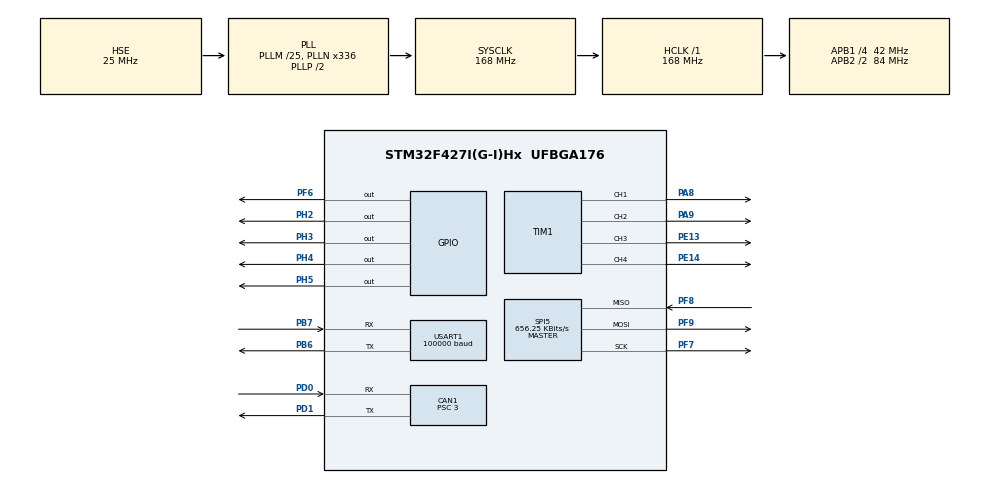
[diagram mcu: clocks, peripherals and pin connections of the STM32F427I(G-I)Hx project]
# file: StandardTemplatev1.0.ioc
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CAN1.BS1=CAN_BS1_12TQ
CAN1.CalculateTimeQuantum=71.42857142857143
CAN1.Prescaler=3
FREERTOS.Tasks01=defaultTask,0,128,StartDefaultTask,Default,NULL,Dynamic,NULL,NULL;remoteControlle,0,256,remoteControllerFunc,Default,NULL,Dynamic,NULL,NULL;chassisTask,0,256,chassisFunc,Default,NULL,Dynamic,NULL,NULL;shooterTask,0,256,shooterFunc,Default,NULL,Dynamic,NULL,NULL;gestureControlT,0,256,gestureControlFunc,Default,NULL,Dynamic,NULL,NULL
Mcu.Family=STM32F4
Mcu.Name=STM32F427I(G-I)Hx
Mcu.Package=UFBGA176
NVIC.PriorityGroup=NVIC_PRIORITYGROUP_4
PA13.Mode=Serial_Wire
PA13.Signal=SYS_JTMS-SWDIO
PA14.Mode=Serial_Wire
PA14.Signal=SYS_JTCK-SWCLK
PA8.Signal=S_TIM1_CH1
PA9.Signal=S_TIM1_CH2
PB6.Mode=Asynchronous
PB6.Signal=USART1_TX
PB7.Mode=Asynchronous
PB7.Signal=USART1_RX
PD0.Mode=Master
PD0.Signal=CAN1_RX
PD1.Mode=Master
PD1.Signal=CAN1_TX
PE13.Signal=S_TIM1_CH3
PE14.Signal=S_TIM1_CH4
PF6.Signal=GPIO_Output
PF7.Mode=Full_Duplex_Master
PF7.Signal=SPI5_SCK
PF8.Mode=Full_Duplex_Master
PF8.Signal=SPI5_MISO
PF9.Mode=Full_Duplex_Master
PF9.Signal=SPI5_MOSI
PH0/OSC_IN.Mode=HSE-External-Oscillator
PH0/OSC_IN.Signal=RCC_OSC_IN
PH1/OSC_OUT.Mode=HSE-External-Oscillator
PH1/OSC_OUT.Signal=RCC_OSC_OUT
PH2.Signal=GPIO_Output
PH3.Signal=GPIO_Output
PH4.Signal=GPIO_Output
PH5.Signal=GPIO_Output
ProjectManager.HeapSize=0x200
ProjectManager.StackSize=0x400
ProjectManager.TargetToolchain=MDK-ARM V5
RCC.48MHZClocksFreq_Value=84000000
RCC.AHBFreq_Value=168000000
RCC.APB1CLKDivider=RCC_HCLK_DIV4
RCC.APB1Freq_Value=42000000
RCC.APB1TimFreq_Value=84000000
RCC.APB2CLKDivider=RCC_HCLK_DIV2
RCC.APB2Freq_Value=84000000
RCC.APB2TimFreq_Value=168000000
RCC.CortexFreq_Value=168000000
RCC.HCLKFreq_Value=168000000
RCC.HSE_VALUE=25000000
RCC.HSI_VALUE=16000000
RCC.LSE_VALUE=32768
RCC.PLLM=25
RCC.PLLN=336
RCC.PLLSourceVirtual=RCC_PLLSOURCE_HSE
RCC.SYSCLKFreq_VALUE=168000000
RCC.SYSCLKSource=RCC_SYSCLKSOURCE_PLLCLK
RCC.VCOOutputFreq_Value=336000000
SH.S_TIM1_CH1.0=TIM1_CH1,PWM Generation1 CH1
SH.S_TIM1_CH2.0=TIM1_CH2,PWM Generation2 CH2
SH.S_TIM1_CH3.0=TIM1_CH3,PWM Generation3 CH3
SH.S_TIM1_CH4.0=TIM1_CH4,PWM Generation4 CH4
SPI5.BaudRatePrescaler=SPI_BAUDRATEPRESCALER_128
SPI5.CalculateBaudRate=656.25 KBits/s
SPI5.Direction=SPI_DIRECTION_2LINES
SPI5.Mode=SPI_MODE_MASTER
SPI5.VirtualType=VM_MASTER
TIM1.Channel-PWM\ Generation1\ CH1=TIM_CHANNEL_1
TIM1.Channel-PWM\ Generation2\ CH2=TIM_CHANNEL_2
TIM1.Channel-PWM\ Generation3\ CH3=TIM_CHANNEL_3
TIM1.Channel-PWM\ Generation4\ CH4=TIM_CHANNEL_4
USART1.BaudRate=100000
USART1.Parity=PARITY_EVEN
USART1.VirtualMode=VM_ASYNC
VP_FREERTOS_VS_CMSIS_V1.Mode=CMSIS_V1
board=custom

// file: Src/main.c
/* USER CODE BEGIN Header */
/**
  ******************************************************************************
  * @file           : main.c
  * @brief          : Main program body
  ******************************************************************************
  * @attention
  *
  * <h2><center>&copy; Copyright (c) 2021 STMicroelectronics.
  * All rights reserved.</center></h2>
  *
  * This software component is licensed by ST under Ultimate Liberty license
  * SLA0044, the "License"; You may not use this file except in compliance with
  * the License. You may obtain a copy of the License at:
  *                             www.st.com/SLA0044
  *
  ******************************************************************************
  */
/* USER CODE END Header */

#include "main.h"
#include "cmsis_os.h"
#include "can.h"
#include "spi.h"
#include "tim.h"
#include "usart.h"
#include "gpio.h"

void SystemClock_Config(void);
void MX_FREERTOS_Init(void);

int main(void)
{

  /* MCU Configuration--------------------------------------------------------*/

  /* Reset of all peripherals, Initializes the Flash interface and the Systick. */
  HAL_Init();

  /* Configure the system clock */
  SystemClock_Config();

  /* Initialize all configured peripherals */
  MX_GPIO_Init();
  MX_CAN1_Init();
  MX_SPI5_Init();
  MX_TIM1_Init();
  MX_USART1_UART_Init();

  /* Call init function for freertos objects (in freertos.c) */
  MX_FREERTOS_Init();

  /* Start scheduler */
  osKernelStart();

  /* We should never get here as control is now taken by the scheduler */

  /* Infinite loop */
  while (1)
  {

  }
}

void SystemClock_Config(void)
{
  RCC_OscInitTypeDef RCC_OscInitStruct = {0};
  RCC_ClkInitTypeDef RCC_ClkInitStruct = {0};

  /** Configure the main internal regulator output voltage
  */
  __HAL_RCC_PWR_CLK_ENABLE();
  __HAL_PWR_VOLTAGESCALING_CONFIG(PWR_REGULATOR_VOLTAGE_SCALE1);
  /** Initializes the CPU, AHB and APB busses clocks
  */
  RCC_OscInitStruct.OscillatorType = RCC_OSCILLATORTYPE_HSE;
  RCC_OscInitStruct.HSEState = RCC_HSE_ON;
  RCC_OscInitStruct.PLL.PLLState = RCC_PLL_ON;
  RCC_OscInitStruct.PLL.PLLSource = RCC_PLLSOURCE_HSE;
  RCC_OscInitStruct.PLL.PLLM = 25;
  RCC_OscInitStruct.PLL.PLLN = 336;
  RCC_OscInitStruct.PLL.PLLP = RCC_PLLP_DIV2;
  RCC_OscInitStruct.PLL.PLLQ = 4;
  if (HAL_RCC_OscConfig(&RCC_OscInitStruct) != HAL_OK)
  {
    Error_Handler();
  }
  /** Initializes the CPU, AHB and APB busses clocks
  */
  RCC_ClkInitStruct.ClockType = RCC_CLOCKTYPE_HCLK|RCC_CLOCKTYPE_SYSCLK
                              |RCC_CLOCKTYPE_PCLK1|RCC_CLOCKTYPE_PCLK2;
  RCC_ClkInitStruct.SYSCLKSource = RCC_SYSCLKSOURCE_PLLCLK;
  RCC_ClkInitStruct.AHBCLKDivider = RCC_SYSCLK_DIV1;
  RCC_ClkInitStruct.APB1CLKDivider = RCC_HCLK_DIV4;
  RCC_ClkInitStruct.APB2CLKDivider = RCC_HCLK_DIV2;

  if (HAL_RCC_ClockConfig(&RCC_ClkInitStruct, FLASH_LATENCY_5) != HAL_OK)
  {
    Error_Handler();
  }
}

void Error_Handler(void)
{
}

/************************ (C) COPYRIGHT STMicroelectronics *****END OF FILE****/

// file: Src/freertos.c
/* USER CODE BEGIN Header */
/**
  ******************************************************************************
  * File Name          : freertos.c
  * Description        : Code for freertos applications
  ******************************************************************************
  * @attention
  *
  * <h2><center>&copy; Copyright (c) 2021 STMicroelectronics.
  * All rights reserved.</center></h2>
  *
  * This software component is licensed by ST under Ultimate Liberty license
  * SLA0044, the "License"; You may not use this file except in compliance with
  * the License. You may obtain a copy of the License at:
  *                             www.st.com/SLA0044
  *
  ******************************************************************************
  */
/* USER CODE END Header */

#include "FreeRTOS.h"
#include "task.h"
#include "main.h"
#include "cmsis_os.h"

/* USER CODE BEGIN Includes */
#include "MPU6500.h"
#include "tim.h"
#include "bsp_can.h"
#include "bsp_uart.h"
#include "bsp_pid.h"
#include "CAN_receive.h"
#include "struct_typedef.h"
/* USER CODE END Includes */

/* USER CODE BEGIN PTD */
extern imu_t imu;//imu数据读取变量
extern rc_info_t rc;//usart5数据读取变量
/* USER CODE END PTD */

osThreadId defaultTaskHandle;
osThreadId remoteControlleHandle;
osThreadId chassisTaskHandle;
osThreadId shooterTaskHandle;
osThreadId gestureControlTHandle;

void StartDefaultTask(void const * argument);
void remoteControllerFunc(void const * argument);
void chassisFunc(void const * argument);
void shooterFunc(void const * argument);
void gestureControlFunc(void const * argument);

void MX_FREERTOS_Init(void); /* (MISRA C 2004 rule 8.1) */

/* GetIdleTaskMemory prototype (linked to static allocation support) */
void vApplicationGetIdleTaskMemory( StaticTask_t **ppxIdleTaskTCBBuffer, StackType_t **ppxIdleTaskStackBuffer, uint32_t *pulIdleTaskStackSize );

/* USER CODE BEGIN GET_IDLE_TASK_MEMORY */
static StaticTask_t xIdleTaskTCBBuffer;
static StackType_t xIdleStack[configMINIMAL_STACK_SIZE];

void vApplicationGetIdleTaskMemory( StaticTask_t **ppxIdleTaskTCBBuffer, StackType_t **ppxIdleTaskStackBuffer, uint32_t *pulIdleTaskStackSize )
{
  *ppxIdleTaskTCBBuffer = &xIdleTaskTCBBuffer;
  *ppxIdleTaskStackBuffer = &xIdleStack[0];
  *pulIdleTaskStackSize = configMINIMAL_STACK_SIZE;
  /* place for user code */
}
/* USER CODE END GET_IDLE_TASK_MEMORY */

void MX_FREERTOS_Init(void) {

  /* Create the thread(s) */
  /* definition and creation of defaultTask */
  osThreadDef(defaultTask, StartDefaultTask, osPriorityNormal, 0, 128);
  defaultTaskHandle = osThreadCreate(osThread(defaultTask), NULL);

  /* definition and creation of remoteControlle */
  osThreadDef(remoteControlle, remoteControllerFunc, osPriorityNormal, 0, 256);
  remoteControlleHandle = osThreadCreate(osThread(remoteControlle), NULL);

  /* definition and creation of chassisTask */
  osThreadDef(chassisTask, chassisFunc, osPriorityNormal, 0, 256);
  chassisTaskHandle = osThreadCreate(osThread(chassisTask), NULL);

  /* definition and creation of shooterTask */
  osThreadDef(shooterTask, shooterFunc, osPriorityNormal, 0, 256);
  shooterTaskHandle = osThreadCreate(osThread(shooterTask), NULL);

  /* definition and creation of gestureControlT */
  osThreadDef(gestureControlT, gestureControlFunc, osPriorityNormal, 0, 256);
  gestureControlTHandle = osThreadCreate(osThread(gestureControlT), NULL);

}

void StartDefaultTask(void const * argument)
{
  for(;;)
  {
    osDelay(1);
  }
}

void remoteControllerFunc(void const * argument)
{
  for(;;)
  {
    osDelay(1);
  }
}

void chassisFunc(void const * argument)
{
  /* USER CODE BEGIN chassisFunc */
	int16_t x=0;
	int16_t y=0;
	int16_t raw=0;
	uint16_t shooter;  // default pwm pulse width:1080~1920
	float set_spd[4];

	for(int i=0; i<4; i++)
	{
		PID_struct_init(&pid_spd[i], POSITION_PID, 20000, 20000,
									1.5f,	0.1f,	0.0f	);  //4 motos angular rate closeloop.
	}
  /* Infinite loop */
  for(;;)
  {
		x= (int16_t)(1000*rc.ch3/660);//0~1000
		y= (int16_t)(1000*rc.ch1/660);
		raw= (int16_t)(1000*rc.ch4/660);

		shooter=100*rc.ch2/660+1300;
		//底盘
		set_spd[0]=y-x+raw;
		set_spd[1]=y+x-raw;
		set_spd[2]=y-x-raw;
		set_spd[3]=y+x+raw;
		for(int i=0; i<4; i++)
		{
			pid_calc(&pid_spd[i], motor_chassis[i].speed_rpm, set_spd[i]);
		}
		CAN_cmd_chassis(pid_spd[0].pos_out,pid_spd[1].pos_out,pid_spd[2].pos_out,pid_spd[3].pos_out);

		//云台
//
		__HAL_TIM_SetCompare(&htim1, TIM_CHANNEL_1, shooter);//PA8 up and down
    __HAL_TIM_SetCompare(&htim1, TIM_CHANNEL_2, 1450);//PA9
//    __HAL_TIM_SetCompare(&htim1, TIM_CHANNEL_3, shooter);//PA10
//    __HAL_TIM_SetCompare(&htim1, TIM_CHANNEL_4, shooter);//PA11
		osDelay(1);

				//

  }
  /* USER CODE END chassisFunc */
}

void shooterFunc(void const * argument)
{
  /* USER CODE BEGIN shooterFunc */
 float set_spd[3];
	int k=0;
	for(int i=0; i<4; i++)
	{
		PID_struct_init(&pid_spd_shooter[i], POSITION_PID, 20000, 20000,
									2.0f,	0.0f,	0.1f	);  //4 motos angular rate closeloop.
	}
  /* Infinite loop */
  for(;;)
  {
				//发射
		set_spd[0]=3000;
		set_spd[1]=-3000;
		set_spd[2]=50;
		HAL_GPIO_TogglePin(GPIOG,GPIO_PIN_1);
		if (rc.sw1==1)
		{
			for(int i=0; i<4; i++)
			{
				pid_calc(&pid_spd_shooter[i], motor_chassis[i+4].speed_rpm, set_spd[i]);
			}
			if (k==0)
			{
				CAN_cmd_gimbal(pid_spd_shooter[0].pos_out,pid_spd_shooter[1].pos_out,0,0);
				if(motor_chassis[4].speed_rpm>=100 && motor_chassis[5].speed_rpm<=-100)
				{
					k=1;
				}
			}
			else
			{
//				if(motor_chassis[6].speed_rpm<=100)
//				{
//					CAN_cmd_gimbal(pid_spd_shooter[0].pos_out,pid_spd_shooter[1].pos_out,-pid_spd_shooter[2].pos_out,0);
//				}
				CAN_cmd_gimbal(pid_spd_shooter[0].pos_out,pid_spd_shooter[1].pos_out,pid_spd_shooter[2].pos_out,0);
			}
		}
		else if (rc.sw1!=1)
		{
			k=0;
			CAN_cmd_gimbal(0,0,0,0);
		}
    osDelay(1);
  }
  /* USER CODE END shooterFunc */
}

void gestureControlFunc(void const * argument)
{
  /* USER CODE BEGIN gestureControlFunc */
	mpu_device_init();
	HAL_GPIO_WritePin(GPIOF, GPIO_PIN_6, GPIO_PIN_SET);
  /* Infinite loop */
  for(;;)
  {
		mpu_get_data();
		imu_ahrs_update();
		imu_attitude_update();

    osDelay(1);
  }
  /* USER CODE END gestureControlFunc */
}

/************************ (C) COPYRIGHT STMicroelectronics *****END OF FILE****/
